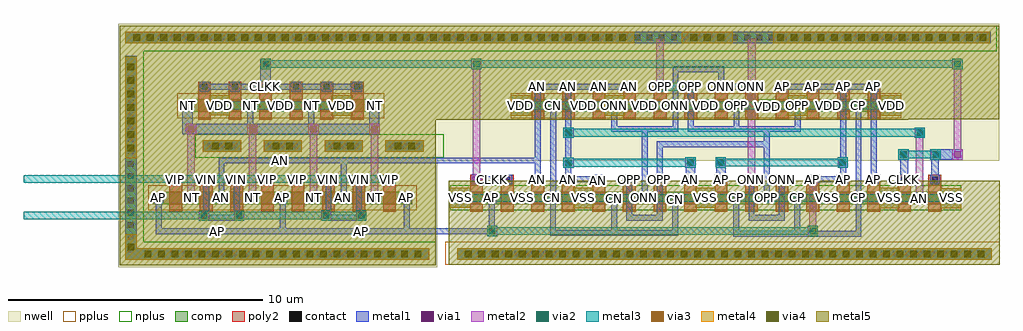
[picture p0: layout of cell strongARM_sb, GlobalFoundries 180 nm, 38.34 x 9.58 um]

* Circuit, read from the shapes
.subckt strongARM_sb AN AP CLKK CN CP NT ONN OPP VDD VIN VIP VSS
XM1 AP CLKK VSS VSS nfet_03v3 w=0.5u l=0.5u m=2
XM2 CN AN VSS VSS nfet_03v3 w=0.5u l=0.5u m=4
XM3 ONN OPP CN VSS nfet_03v3 w=0.5u l=0.5u m=2
XM4 CP AP VSS VSS nfet_03v3 w=0.5u l=0.5u m=4
XM5 OPP ONN CP VSS nfet_03v3 w=0.5u l=0.5u m=2
XM6 AN CLKK VSS VSS nfet_03v3 w=0.5u l=0.5u m=2
XM7 NT VIP AP VDD pfet_03v3 w=0.5u l=0.5u m=4
XM8 VDD CLKK NT VDD pfet_03v3 w=0.5u l=0.5u m=6
XM9 AN VIN NT VDD pfet_03v3 w=0.5u l=0.5u m=4
XM10 CN AN VDD VDD pfet_03v3 w=0.5u l=0.5u m=2
XM11 ONN AN VDD VDD pfet_03v3 w=0.5u l=0.5u m=2
XM12 ONN OPP VDD VDD pfet_03v3 w=0.5u l=0.5u m=2
XM13 OPP ONN VDD VDD pfet_03v3 w=0.5u l=0.5u m=2
XM14 OPP AP VDD VDD pfet_03v3 w=0.5u l=0.5u m=2
XM15 CP AP VDD VDD pfet_03v3 w=0.5u l=0.5u m=2
.ends

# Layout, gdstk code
import gdstk
lib = gdstk.Library(unit=1e-6, precision=5e-09)
def R(c, l, rs):  # rectangles x0, y0, x1, y1
    for r in rs: c.add(gdstk.rectangle(r[:2], r[2:], *l))
def A(c, l, x, y, w, h, nx, ny, dx, dy):  # array of equal rectangles
    R(c, l, [(x+i*dx, y+j*dy, x+i*dx+w, y+j*dy+h) for i in range(nx) for j in range(ny)])
def P(c, l, *ps):  # polygons
    for p in ps: c.add(gdstk.Polygon(p, *l))
nwell = (21, 0)
comp = (22, 0)
poly2 = (30, 0)
pplus = (31, 0)
nplus = (32, 0)
contact = (33, 0)
metal1 = (34, 0)
via1 = (35, 0)
metal2 = (36, 0)
via2 = (38, 0)
via3 = (40, 0)
via4 = (41, 0)
metal3 = (42, 0)
metal4 = (46, 0)
metal5 = (81, 0)

via_dev = lib.new_cell('via_dev')
R(via_dev, metal1, [(0,0,0.4,0.4)])
R(via_dev, via1, [(0.07,0.07,0.33,0.33)])
R(via_dev, metal2, [(0,0,0.4,0.4)])

via_dev_1 = lib.new_cell('via_dev$1')
R(via_dev_1, metal1, [(0,0,0.4,0.4)])
R(via_dev_1, via1, [(0.07,0.07,0.33,0.33)])
R(via_dev_1, metal2, [(0,0,0.4,0.4)])
R(via_dev_1, via2, [(0.07,0.07,0.33,0.33)])
R(via_dev_1, metal3, [(0,0,0.4,0.4)])

via_dev_3 = lib.new_cell('via_dev$3')
R(via_dev_3, via3, [(0.27,0.27,0.53,0.53)])
R(via_dev_3, via4, [(0.27,0.27,0.53,0.53)])
R(via_dev_3, metal3, [(0,0,0.8,0.8)])
R(via_dev_3, metal4, [(0,0,0.8,0.8)])
R(via_dev_3, metal5, [(0,0,0.8,0.8)])

via_dev_2 = lib.new_cell('via_dev$2')
R(via_dev_2, metal2, [(0,0,0.4,0.4)])
R(via_dev_2, via2, [(0.07,0.07,0.33,0.33)])
R(via_dev_2, metal3, [(0,0,0.4,0.4)])

via_dev_15 = lib.new_cell('via_dev$15')
R(via_dev_15, comp, [(0,0,0.45,8)])
A(via_dev_15, contact, 0.115, 0.29, 0.22, 0.22, 1, 16, 0, 0.48)
R(via_dev_15, metal1, [(0,0,0.45,8)])

via_dev_6 = lib.new_cell('via_dev$6')
R(via_dev_6, comp, [(0,0,1.5,0.45)])
A(via_dev_6, contact, 0.16, 0.115, 0.22, 0.22, 3, 1, 0.48, 0)
R(via_dev_6, metal1, [(0,0,1.5,0.45)])
R(via_dev_6, via1, [(0.355,0.095,0.615,0.355), (0.885,0.095,1.145,0.355)])
R(via_dev_6, metal2, [(0,0,1.5,0.45)])
R(via_dev_6, via2, [(0.355,0.095,0.615,0.355), (0.885,0.095,1.145,0.355)])
R(via_dev_6, via3, [(0.355,0.095,0.615,0.355), (0.885,0.095,1.145,0.355)])
R(via_dev_6, via4, [(0.355,0.095,0.615,0.355), (0.885,0.095,1.145,0.355)])
R(via_dev_6, metal3, [(0,0,1.5,0.45)])
R(via_dev_6, metal4, [(0,0,1.5,0.45)])
R(via_dev_6, metal5, [(0,0,1.5,0.45)])

via_dev_14 = lib.new_cell('via_dev$14')
R(via_dev_14, comp, [(0,0,21,0.45)])
A(via_dev_14, contact, 0.31, 0.115, 0.22, 0.22, 43, 1, 0.48, 0)
R(via_dev_14, metal1, [(0,0,21,0.45)])
A(via_dev_14, via1, 0.3, 0.095, 0.26, 0.26, 39, 1, 0.53, 0)
R(via_dev_14, metal2, [(0,0,21,0.45)])
A(via_dev_14, via2, 0.3, 0.095, 0.26, 0.26, 39, 1, 0.53, 0)
A(via_dev_14, via3, 0.3, 0.095, 0.26, 0.26, 39, 1, 0.53, 0)
A(via_dev_14, via4, 0.3, 0.095, 0.26, 0.26, 39, 1, 0.53, 0)
R(via_dev_14, metal3, [(0,0,21,0.45)])
R(via_dev_14, metal4, [(0,0,21,0.45)])
R(via_dev_14, metal5, [(0,0,21,0.45)])

via_dev_8 = lib.new_cell('via_dev$8')
R(via_dev_8, comp, [(0,0,11.5,0.45)])
A(via_dev_8, contact, 0.36, 0.115, 0.22, 0.22, 23, 1, 0.48, 0)
R(via_dev_8, metal1, [(0,0,11.5,0.45)])
A(via_dev_8, via1, 0.32, 0.095, 0.26, 0.26, 21, 1, 0.53, 0)
R(via_dev_8, metal2, [(0,0,11.5,0.45)])
A(via_dev_8, via2, 0.32, 0.095, 0.26, 0.26, 21, 1, 0.53, 0)
A(via_dev_8, via3, 0.32, 0.095, 0.26, 0.26, 21, 1, 0.53, 0)
A(via_dev_8, via4, 0.32, 0.095, 0.26, 0.26, 21, 1, 0.53, 0)
R(via_dev_8, metal3, [(0,0,11.5,0.45)])
R(via_dev_8, metal4, [(0,0,11.5,0.45)])
R(via_dev_8, metal5, [(0,0,11.5,0.45)])

via_dev_17 = lib.new_cell('via_dev$17')
R(via_dev_17, metal1, [(0,0,0.45,4)])
A(via_dev_17, via1, 0.095, 0.28, 0.26, 0.26, 1, 7, 0, 0.53)
R(via_dev_17, metal2, [(0,0,0.45,4)])
A(via_dev_17, via2, 0.095, 0.28, 0.26, 0.26, 1, 7, 0, 0.53)
A(via_dev_17, via3, 0.095, 0.28, 0.26, 0.26, 1, 7, 0, 0.53)
A(via_dev_17, via4, 0.095, 0.28, 0.26, 0.26, 1, 7, 0, 0.53)
R(via_dev_17, metal3, [(0,0,0.45,4)])
R(via_dev_17, metal4, [(0,0,0.45,4)])
R(via_dev_17, metal5, [(0,0,0.45,4)])

via_dev_11 = lib.new_cell('via_dev$11')
R(via_dev_11, metal1, [(0,0,0.45,1)])
R(via_dev_11, via1, [(0.095,0.37,0.355,0.63)])
R(via_dev_11, metal2, [(0,0,0.45,1)])
R(via_dev_11, via2, [(0.095,0.37,0.355,0.63)])
R(via_dev_11, via3, [(0.095,0.37,0.355,0.63)])
R(via_dev_11, via4, [(0.095,0.37,0.355,0.63)])
R(via_dev_11, metal3, [(0,0,0.45,1)])
R(via_dev_11, metal4, [(0,0,0.45,1)])
R(via_dev_11, metal5, [(0,0,0.45,1)])

via_dev_12 = lib.new_cell('via_dev$12')
R(via_dev_12, comp, [(0,0,34,0.45)])
A(via_dev_12, contact, 0.33, 0.115, 0.22, 0.22, 70, 1, 0.48, 0)
R(via_dev_12, metal1, [(0,0,34,0.45)])

via_dev_18 = lib.new_cell('via_dev$18')
R(via_dev_18, metal1, [(0,0,20,0.45)])
A(via_dev_18, via1, 0.33, 0.095, 0.26, 0.26, 37, 1, 0.53, 0)
R(via_dev_18, metal2, [(0,0,20,0.45)])
A(via_dev_18, via2, 0.33, 0.095, 0.26, 0.26, 37, 1, 0.53, 0)
A(via_dev_18, via3, 0.33, 0.095, 0.26, 0.26, 37, 1, 0.53, 0)
A(via_dev_18, via4, 0.33, 0.095, 0.26, 0.26, 37, 1, 0.53, 0)
R(via_dev_18, metal3, [(0,0,20,0.45)])
R(via_dev_18, metal4, [(0,0,20,0.45)])
R(via_dev_18, metal5, [(0,0,20,0.45)])

via_dev_19 = lib.new_cell('via_dev$19')
R(via_dev_19, metal1, [(0,0,8.5,0.45)])
A(via_dev_19, via1, 0.145, 0.095, 0.26, 0.26, 16, 1, 0.53, 0)
R(via_dev_19, metal2, [(0,0,8.5,0.45)])
A(via_dev_19, via2, 0.145, 0.095, 0.26, 0.26, 16, 1, 0.53, 0)
A(via_dev_19, via3, 0.145, 0.095, 0.26, 0.26, 16, 1, 0.53, 0)
A(via_dev_19, via4, 0.145, 0.095, 0.26, 0.26, 16, 1, 0.53, 0)
R(via_dev_19, metal3, [(0,0,8.5,0.45)])
R(via_dev_19, metal4, [(0,0,8.5,0.45)])
R(via_dev_19, metal5, [(0,0,8.5,0.45)])

via_dev_20 = lib.new_cell('via_dev$20')
R(via_dev_20, metal1, [(0,0,2,0.45)])
A(via_dev_20, via1, 0.34, 0.095, 0.26, 0.26, 3, 1, 0.53, 0)
R(via_dev_20, metal2, [(0,0,2,0.45)])
A(via_dev_20, via2, 0.34, 0.095, 0.26, 0.26, 3, 1, 0.53, 0)
A(via_dev_20, via3, 0.34, 0.095, 0.26, 0.26, 3, 1, 0.53, 0)
A(via_dev_20, via4, 0.34, 0.095, 0.26, 0.26, 3, 1, 0.53, 0)
R(via_dev_20, metal3, [(0,0,2,0.45)])
R(via_dev_20, metal4, [(0,0,2,0.45)])
R(via_dev_20, metal5, [(0,0,2,0.45)])

strongarm_sb = lib.new_cell('strongARM_sb')
P(strongarm_sb, nwell, [(33.6,-72.4),(33.6,-62.82),(68.2,-62.82),(68.2,-68.21),(46.13,-68.21),(46.13,-72.4)])
R(strongarm_sb, comp, [(34.95,-69.92,35.41,-69.42), (35.41,-69.92,44.69,-69.42), (44.69,-69.92,45.15,-69.42), (46.81,-69.92,47.23,-69.42), (47.23,-69.92,66.11,-69.42), (66.11,-69.92,66.53,-69.42), (36.08,-66.29,36.54,-65.79), (36.54,-66.29,43.42,-65.79), (43.42,-66.29,43.88,-65.79), (49.18,-66.29,49.64,-65.79), (49.64,-66.29,63.72,-65.79), (63.72,-66.29,64.18,-65.79)])
A(strongarm_sb, poly2, 35.6, -70.22, 0.5, 1.1, 8, 1, 1.2, 0)
A(strongarm_sb, poly2, 47.42, -70.22, 0.5, 1.1, 16, 1, 1.2, 0)
A(strongarm_sb, poly2, 35.6, -69.12, 0.5, 0.38, 8, 1, 1.2, 0)
A(strongarm_sb, poly2, 47.42, -69.12, 0.5, 0.36, 16, 1, 1.2, 0)
A(strongarm_sb, poly2, 36.73, -66.59, 0.5, 1.1, 6, 1, 1.2, 0)
A(strongarm_sb, poly2, 49.83, -66.59, 0.5, 1.1, 12, 1, 1.2, 0)
A(strongarm_sb, poly2, 36.73, -65.49, 0.5, 0.38, 6, 1, 1.2, 0)
A(strongarm_sb, poly2, 49.83, -65.49, 0.5, 0.38, 12, 1, 1.2, 0)
R(strongarm_sb, pplus, [(46.44,-72.3,68.21,-71.39), (34.78,-70.16,45.32,-69.18), (35.91,-66.53,44.05,-65.55), (49.01,-66.53,64.35,-65.55)])
R(strongarm_sb, nplus, [(33.65,-72.32,34.6,-62.9), (33.65,-72.32,46.06,-71.39), (46.64,-70.16,66.7,-69.18), (36.61,-68.085,46.38,-67.16), (33.65,-63.9,68.1,-62.9)])
A(strongarm_sb, contact, 36.34, -69.78, 0.22, 0.22, 7, 1, 1.2, 0)
A(strongarm_sb, contact, 48.16, -69.78, 0.22, 0.22, 15, 1, 1.2, 0)
A(strongarm_sb, contact, 47.56, -69.05, 0.22, 0.22, 16, 1, 1.2, 0)
A(strongarm_sb, contact, 35.74, -69.04, 0.22, 0.22, 8, 1, 1.2, 0)
A(strongarm_sb, contact, 37.47, -66.15, 0.22, 0.22, 5, 1, 1.2, 0)
A(strongarm_sb, contact, 50.57, -66.15, 0.22, 0.22, 11, 1, 1.2, 0)
A(strongarm_sb, contact, 36.87, -65.41, 0.22, 0.22, 6, 1, 1.2, 0)
A(strongarm_sb, contact, 49.97, -65.41, 0.22, 0.22, 12, 1, 1.2, 0)
R(strongarm_sb, contact, [(35.07,-69.78,35.29,-69.56), (44.81,-69.78,45.03,-69.56), (46.91,-69.78,47.13,-69.56), (66.21,-69.78,66.43,-69.56), (36.2,-66.15,36.42,-65.93), (43.54,-66.15,43.76,-65.93), (49.3,-66.15,49.52,-65.93), (63.84,-66.15,64.06,-65.93)])
A(strongarm_sb, metal1, 36.26, -69.86, 0.38, 0.38, 7, 1, 1.2, 0)
A(strongarm_sb, metal1, 48.08, -69.86, 0.38, 0.38, 15, 1, 1.2, 0)
A(strongarm_sb, metal1, 47.48, -69.13, 0.38, 0.38, 16, 1, 1.2, 0)
A(strongarm_sb, metal1, 35.66, -69.12, 0.38, 0.38, 8, 1, 1.2, 0)
A(strongarm_sb, metal1, 37.39, -66.23, 0.38, 0.38, 5, 1, 1.2, 0)
A(strongarm_sb, metal1, 50.49, -66.23, 0.38, 0.38, 11, 1, 1.2, 0)
A(strongarm_sb, metal1, 36.79, -65.49, 0.38, 0.38, 6, 1, 1.2, 0)
A(strongarm_sb, metal1, 49.89, -65.49, 0.38, 0.38, 12, 1, 1.2, 0)
R(strongarm_sb, metal1, [(34.99,-69.86,35.37,-69.48), (44.73,-69.86,45.11,-69.48), (46.83,-69.86,47.21,-69.48), (66.13,-69.86,66.51,-69.48), (36.12,-66.23,36.5,-65.85), (43.46,-66.23,43.84,-65.85), (49.22,-66.23,49.6,-65.85), (63.76,-66.23,64.14,-65.85)])
P(strongarm_sb, metal1, [(35.065,-71.095),(35.065,-69.81),(35.295,-69.81),(35.295,-70.865),(39.935,-70.865),(39.935,-69.48),(40.165,-69.48),(40.165,-70.865),(44.805,-70.865),(44.805,-69.81),(45.035,-69.81),(45.035,-71.095)])
A(strongarm_sb, via1, 36.32, -69.8, 0.26, 0.26, 4, 1, 2.4, 0)
A(strongarm_sb, metal2, 36.26, -69.86, 0.38, 0.38, 4, 1, 2.4, 0)
R(strongarm_sb, metal5, [(33.65,-72.32,46.06,-62.9), (46.58,-72.3,68.21,-69), (36.73,-66.59,64.62,-65.35), (33.65,-66.58,68.2,-62.9)])
strongarm_sb.add(gdstk.FlexPath([(54.68,-65.3),(56.24,-65.3)], 0.3, ends="flush", simple_path=True, layer=42, datatype=0))  # metal3
strongarm_sb.add(gdstk.FlexPath([(51.08,-68.29),(56.2,-68.29)], 0.3, ends="flush", simple_path=True, layer=42, datatype=0))  # metal3
strongarm_sb.add(gdstk.FlexPath([(57.06,-68.28),(62.25,-68.28)], 0.3, ends="flush", simple_path=True, layer=42, datatype=0))  # metal3
strongarm_sb.add(gdstk.FlexPath([(61.08,-70.97),(48.08,-70.97)], 0.3, ends="flush", simple_path=True, layer=42, datatype=0))  # metal3
strongarm_sb.add(gdstk.FlexPath([(65.28,-67.11),(51.08,-67.11)], 0.3, ends="flush", simple_path=True, layer=42, datatype=0))  # metal3
strongarm_sb.add(gdstk.FlexPath([(66.76,-64.41),(39.19,-64.41)], 0.3, ends="flush", simple_path=True, layer=42, datatype=0))  # metal3
strongarm_sb.add(gdstk.FlexPath([(43.34,-70.36),(29.87,-70.36)], 0.3, ends="flush", simple_path=True, layer=42, datatype=0))  # metal3
strongarm_sb.add(gdstk.FlexPath([(44.45,-68.93),(29.87,-68.93)], 0.3, ends="flush", simple_path=True, layer=42, datatype=0))  # metal3
strongarm_sb.add(gdstk.FlexPath([(42.58,-66.04),(37.39,-66.04)], 0.3, ends="flush", simple_path=True, layer=42, datatype=0))  # metal3
strongarm_sb.add(gdstk.FlexPath([(49.21,-66.04),(64.14,-66.04)], 0.3, ends="flush", simple_path=True, layer=42, datatype=0))  # metal3
strongarm_sb.add(gdstk.FlexPath([(66.51,-69.67),(46.83,-69.67)], 0.3, ends="flush", simple_path=True, layer=42, datatype=0))  # metal3
strongarm_sb.add(gdstk.FlexPath([(65.87,-67.96),(64.27,-67.96)], 0.3, ends="flush", simple_path=True, layer=42, datatype=0))  # metal3
strongarm_sb.add(gdstk.FlexPath([(36.45,-66.76),(36.45,-69.86),(36.45,-69.86)], 0.3, ends="flush", simple_path=True, layer=36, datatype=0))  # metal2
strongarm_sb.add(gdstk.FlexPath([(38.86,-66.77),(38.86,-69.86)], 0.3, ends="flush", simple_path=True, layer=36, datatype=0))  # metal2
strongarm_sb.add(gdstk.FlexPath([(41.26,-66.76),(41.26,-69.86)], 0.3, ends="flush", simple_path=True, layer=36, datatype=0))  # metal2
strongarm_sb.add(gdstk.FlexPath([(43.66,-66.76),(43.66,-69.86)], 0.3, ends="flush", simple_path=True, layer=36, datatype=0))  # metal2
strongarm_sb.add(gdstk.FlexPath([(58.47,-69.14),(58.47,-65.17)], 0.28, ends="flush", simple_path=True, layer=36, datatype=0))  # metal2
strongarm_sb.add(gdstk.FlexPath([(65.07,-69.87),(65.07,-66.91)], 0.3, ends="flush", simple_path=True, layer=36, datatype=0))  # metal2
strongarm_sb.add(gdstk.FlexPath([(66.56,-68.16),(66.56,-64.28)], 0.3, ends="flush", simple_path=True, layer=36, datatype=0))  # metal2
strongarm_sb.add(gdstk.FlexPath([(47.67,-69.14),(47.67,-64.73),(47.82,-64.73)], 0.3, ends="flush", simple_path=True, layer=36, datatype=0))  # metal2
strongarm_sb.add(gdstk.FlexPath([(60.87,-68.76),(60.87,-71.17)], 0.28, ends="flush", simple_path=True, layer=36, datatype=0))  # metal2
strongarm_sb.add(gdstk.FlexPath([(54.88,-65.49),(54.88,-63.42)], 0.3, ends="flush", simple_path=True, layer=36, datatype=0))  # metal2
strongarm_sb.add(gdstk.FlexPath([(58.48,-65.49),(58.48,-63.42)], 0.3, ends="flush", simple_path=True, layer=36, datatype=0))  # metal2
strongarm_sb.add(gdstk.FlexPath([(37.05,-68.74),(37.05,-70.45),(38.25,-70.45),(38.25,-68.74)], 0.23, ends="flush", simple_path=True, layer=34, datatype=0))  # metal1
strongarm_sb.add(gdstk.FlexPath([(41.85,-68.74),(41.85,-70.45),(43.05,-70.45),(43.05,-68.74),(43.05,-68.74)], 0.23, ends="flush", simple_path=True, layer=34, datatype=0))  # metal1
strongarm_sb.add(gdstk.FlexPath([(36.31,-65.85),(36.31,-66.96),(43.65,-66.96),(43.65,-65.85)], 0.4, ends="flush", simple_path=True, layer=34, datatype=0))  # metal1
strongarm_sb.add(gdstk.FlexPath([(38.78,-65.85),(38.78,-67.075)], 0.23, ends="flush", simple_path=True, layer=34, datatype=0))  # metal1
strongarm_sb.add(gdstk.FlexPath([(41.18,-65.85),(41.18,-67.075)], 0.23, ends="flush", simple_path=True, layer=34, datatype=0))  # metal1
strongarm_sb.add(gdstk.FlexPath([(36.79,-65.3),(43.17,-65.3)], 0.23, ends="flush", simple_path=True, layer=34, datatype=0))  # metal1
strongarm_sb.add(gdstk.FlexPath([(62.67,-69.48),(62.67,-69.94)], 0.23, ends="flush", simple_path=True, layer=34, datatype=0))  # metal1
strongarm_sb.add(gdstk.FlexPath([(64.47,-69.13),(64.47,-67.76)], 0.3, ends="flush", simple_path=True, layer=34, datatype=0))  # metal1
strongarm_sb.add(gdstk.FlexPath([(50.68,-65.85),(50.68,-69.78)], 0.23, ends="flush", simple_path=True, layer=34, datatype=0))  # metal1
strongarm_sb.add(gdstk.FlexPath([(50.07,-69.05),(50.07,-65.25),(50.19,-65.25)], 0.23, ends="flush", simple_path=True, layer=34, datatype=0))  # metal1
strongarm_sb.add(gdstk.FlexPath([(62.67,-69.86),(62.67,-65.85)], 0.23, ends="flush", simple_path=True, layer=34, datatype=0))  # metal1
strongarm_sb.add(gdstk.FlexPath([(63.27,-69.12),(63.27,-65.19)], 0.23, ends="flush", simple_path=True, layer=34, datatype=0))  # metal1
strongarm_sb.add(gdstk.FlexPath([(51.08,-68.94),(52.66,-68.94)], 0.23, ends="flush", simple_path=True, layer=34, datatype=0))  # metal1
strongarm_sb.add(gdstk.FlexPath([(62.26,-68.94),(60.68,-68.94)], 0.23, ends="flush", simple_path=True, layer=34, datatype=0))  # metal1
strongarm_sb.add(gdstk.FlexPath([(49.89,-65.3),(53.79,-65.3)], 0.23, ends="flush", simple_path=True, layer=34, datatype=0))  # metal1
strongarm_sb.add(gdstk.FlexPath([(59.49,-65.3),(63.47,-65.3)], 0.23, ends="flush", simple_path=True, layer=34, datatype=0))  # metal1
strongarm_sb.add(gdstk.FlexPath([(55.48,-66.23),(55.48,-64.61),(57.28,-64.61),(57.28,-65.41)], 0.23, ends="flush", simple_path=True, layer=34, datatype=0))  # metal1
strongarm_sb.add(gdstk.FlexPath([(54.87,-69.13),(54.87,-67.56),(59.185,-67.56)], 0.23, ends="flush", simple_path=True, layer=34, datatype=0))  # metal1
strongarm_sb.add(gdstk.FlexPath([(56.07,-69.13),(56.07,-68.15),(56.07,-68.15)], 0.38, ends="flush", simple_path=True, layer=34, datatype=0))  # metal1
strongarm_sb.add(gdstk.FlexPath([(57.27,-69.12),(57.27,-68.15)], 0.38, ends="flush", simple_path=True, layer=34, datatype=0))  # metal1
strongarm_sb.add(gdstk.FlexPath([(51.27,-69.13),(51.27,-65.19)], 0.23, ends="flush", simple_path=True, layer=34, datatype=0))  # metal1
strongarm_sb.add(gdstk.FlexPath([(62.07,-69.13),(62.07,-65.19)], 0.23, ends="flush", simple_path=True, layer=34, datatype=0))  # metal1
strongarm_sb.add(gdstk.FlexPath([(48.27,-69.48),(48.27,-70.45)], 0.23, ends="flush", simple_path=True, layer=34, datatype=0))  # metal1
strongarm_sb.add(gdstk.FlexPath([(42.33,-68.2),(50.185,-68.2)], 0.23, ends="flush", simple_path=True, layer=34, datatype=0))  # metal1
strongarm_sb.add(gdstk.FlexPath([(48.27,-69.48),(48.27,-70.98),(44.32,-70.98)], 0.23, ends="flush", simple_path=True, layer=34, datatype=0))  # metal1
strongarm_sb.add(gdstk.FlexPath([(65.48,-67.96),(66.76,-67.96)], 0.4, ends="flush", simple_path=True, layer=34, datatype=0))  # metal1
strongarm_sb.add(gdstk.FlexPath([(39.38,-65.49),(39.38,-64.21)], 0.4, ends="flush", simple_path=True, layer=34, datatype=0))  # metal1
strongarm_sb.add(gdstk.FlexPath([(65.67,-69.13),(65.67,-67.76)], 0.3, ends="flush", simple_path=True, layer=34, datatype=0))  # metal1
strongarm_sb.add(gdstk.FlexPath([(37.65,-69.86),(37.65,-68.2),(42.45,-68.2),(42.45,-69.86)], 0.23, ends="flush", simple_path=True, layer=34, datatype=0))  # metal1
strongarm_sb.add(gdstk.FlexPath([(49.89,-65.3),(51.47,-65.3)], 0.23, ends="flush", simple_path=True, layer=34, datatype=0))  # metal1
strongarm_sb.add(gdstk.FlexPath([(53.87,-65.3),(52.29,-65.3)], 0.23, ends="flush", simple_path=True, layer=34, datatype=0))  # metal1
strongarm_sb.add(gdstk.FlexPath([(53.08,-65.85),(53.08,-66.96),(55.48,-66.96),(55.48,-65.85),(55.48,-65.85)], 0.23, ends="flush", simple_path=True, layer=34, datatype=0))  # metal1
strongarm_sb.add(gdstk.FlexPath([(54.27,-69.86),(54.27,-66.845)], 0.23, ends="flush", simple_path=True, layer=34, datatype=0))  # metal1
strongarm_sb.add(gdstk.FlexPath([(60.28,-65.85),(60.28,-66.96),(57.88,-66.96),(57.88,-65.85),(57.88,-65.85)], 0.23, ends="flush", simple_path=True, layer=34, datatype=0))  # metal1
strongarm_sb.add(gdstk.FlexPath([(59.07,-69.86),(59.07,-66.845)], 0.23, ends="flush", simple_path=True, layer=34, datatype=0))  # metal1
strongarm_sb.add(gdstk.FlexPath([(50.67,-69.88),(50.67,-71.05),(55.47,-71.05),(55.47,-69.88)], 0.23, ends="flush", simple_path=True, layer=34, datatype=0))  # metal1
strongarm_sb.add(gdstk.FlexPath([(53.07,-69.48),(53.07,-70.765)], 0.23, ends="flush", simple_path=True, layer=34, datatype=0))  # metal1
strongarm_sb.add(gdstk.FlexPath([(62.67,-69.9),(62.67,-71.07),(57.87,-71.07),(57.87,-69.9)], 0.23, ends="flush", simple_path=True, layer=34, datatype=0))  # metal1
strongarm_sb.add(gdstk.FlexPath([(60.27,-69.48),(60.27,-70.765)], 0.23, ends="flush", simple_path=True, layer=34, datatype=0))  # metal1
strongarm_sb.add(gdstk.FlexPath([(57.09,-65.3),(58.67,-65.3),(58.67,-65.3)], 0.23, ends="flush", simple_path=True, layer=34, datatype=0))  # metal1
strongarm_sb.add(gdstk.FlexPath([(56.08,-65.11),(56.08,-66.96),(57.99,-66.96)], 0.23, ends="flush", simple_path=True, layer=34, datatype=0))  # metal1
strongarm_sb.add(gdstk.FlexPath([(59.49,-65.3),(61.07,-65.3)], 0.23, ends="flush", simple_path=True, layer=34, datatype=0))  # metal1
strongarm_sb.add(gdstk.FlexPath([(61.89,-65.3),(63.47,-65.3)], 0.23, ends="flush", simple_path=True, layer=34, datatype=0))  # metal1
strongarm_sb.add(gdstk.FlexPath([(47.48,-68.94),(49.06,-68.94)], 0.23, ends="flush", simple_path=True, layer=34, datatype=0))  # metal1
strongarm_sb.add(gdstk.FlexPath([(53.67,-68.75),(53.67,-70.45),(54.87,-70.45),(54.87,-68.76),(54.87,-68.76)], 0.23, ends="flush", simple_path=True, layer=34, datatype=0))  # metal1
strongarm_sb.add(gdstk.FlexPath([(50.67,-70.07),(50.67,-69.67),(50.67,-69.67)], 0.23, ends="flush", simple_path=True, layer=34, datatype=0))  # metal1
strongarm_sb.add(gdstk.FlexPath([(53.07,-70.72),(53.07,-71.165)], 0.23, ends="flush", simple_path=True, layer=34, datatype=0))  # metal1
strongarm_sb.add(gdstk.FlexPath([(55.47,-69.48),(55.47,-70.22)], 0.23, ends="flush", simple_path=True, layer=34, datatype=0))  # metal1
strongarm_sb.add(gdstk.FlexPath([(57.87,-69.48),(57.87,-70.16)], 0.23, ends="flush", simple_path=True, layer=34, datatype=0))  # metal1
strongarm_sb.add(gdstk.FlexPath([(60.27,-71.185),(60.27,-70.54)], 0.23, ends="flush", simple_path=True, layer=34, datatype=0))  # metal1
strongarm_sb.add(gdstk.FlexPath([(58.47,-68.75),(58.47,-70.45),(59.65,-70.45),(59.65,-68.88),(59.53,-68.88),(59.53,-68.88)], 0.23, ends="flush", simple_path=True, layer=34, datatype=0))  # metal1
strongarm_sb.add(gdstk.Reference(via_dev, (36.25,-67.16)))
strongarm_sb.add(gdstk.Reference(via_dev, (38.66,-67.17)))
strongarm_sb.add(gdstk.Reference(via_dev, (41.06,-67.16)))
strongarm_sb.add(gdstk.Reference(via_dev, (43.46,-67.16)))
strongarm_sb.add(gdstk.Reference(via_dev_1, (54.68,-65.5)))
strongarm_sb.add(gdstk.Reference(via_dev_1, (55.88,-65.5)))
strongarm_sb.add(gdstk.Reference(via_dev, (58.27,-69.14)))
strongarm_sb.add(gdstk.Reference(via_dev, (58.28,-65.5)))
strongarm_sb.add(gdstk.Reference(via_dev_1, (55.87,-68.48)))
strongarm_sb.add(gdstk.Reference(via_dev_1, (57.06,-68.48)))
strongarm_sb.add(gdstk.Reference(via_dev_1, (51.08,-68.49)))
strongarm_sb.add(gdstk.Reference(via_dev_1, (61.85,-68.48)))
strongarm_sb.add(gdstk.Reference(via_dev_1, (48.08,-71.17)))
strongarm_sb.add(gdstk.Reference(via_dev_3, (51.46,-70.07)))
strongarm_sb.add(gdstk.Reference(via_dev_1, (51.08,-67.31)))
strongarm_sb.add(gdstk.Reference(via_dev, (64.88,-67.31)))
strongarm_sb.add(gdstk.Reference(via_dev, (64.87,-69.87)))
strongarm_sb.add(gdstk.Reference(via_dev_1, (65.51,-68.16)))
strongarm_sb.add(gdstk.Reference(via_dev_1, (64.24,-68.16)))
strongarm_sb.add(gdstk.Reference(via_dev, (47.47,-69.14)))
strongarm_sb.add(gdstk.Reference(via_dev, (66.36,-68.16)))
strongarm_sb.add(gdstk.Reference(via_dev_2, (66.36,-64.61)))
strongarm_sb.add(gdstk.Reference(via_dev_2, (47.46,-64.61)))
strongarm_sb.add(gdstk.Reference(via_dev_1, (39.19,-64.61)))
strongarm_sb.add(gdstk.Reference(via_dev_1, (36.76,-70.57)))
strongarm_sb.add(gdstk.Reference(via_dev_1, (38.14,-70.57)))
strongarm_sb.add(gdstk.Reference(via_dev_1, (41.56,-70.56)))
strongarm_sb.add(gdstk.Reference(via_dev_1, (42.94,-70.56)))
strongarm_sb.add(gdstk.Reference(via_dev_1, (35.61,-69.13)))
strongarm_sb.add(gdstk.Reference(via_dev_1, (39.29,-69.13)))
strongarm_sb.add(gdstk.Reference(via_dev_1, (40.41,-69.13)))
strongarm_sb.add(gdstk.Reference(via_dev_1, (44.09,-69.13)))
strongarm_sb.add(gdstk.Reference(via_dev_1, (42.18,-66.24)))
strongarm_sb.add(gdstk.Reference(via_dev_1, (39.78,-66.24)))
strongarm_sb.add(gdstk.Reference(via_dev_1, (37.38,-66.24)))
strongarm_sb.add(gdstk.Reference(via_dev_3, (37.18,-66.43)))
strongarm_sb.add(gdstk.Reference(via_dev_3, (41.98,-66.44)))
strongarm_sb.add(gdstk.Reference(via_dev_1, (63.75,-66.24)))
strongarm_sb.add(gdstk.Reference(via_dev_1, (61.28,-66.24)))
strongarm_sb.add(gdstk.Reference(via_dev_1, (58.9,-66.24)))
strongarm_sb.add(gdstk.Reference(via_dev_1, (56.48,-66.24)))
strongarm_sb.add(gdstk.Reference(via_dev_1, (54.08,-66.24)))
strongarm_sb.add(gdstk.Reference(via_dev_1, (51.68,-66.24)))
strongarm_sb.add(gdstk.Reference(via_dev_1, (49.21,-66.24)))
strongarm_sb.add(gdstk.Reference(via_dev_3, (49.01,-66.44)))
strongarm_sb.add(gdstk.Reference(via_dev_3, (63.55,-66.44)))
strongarm_sb.add(gdstk.Reference(via_dev_3, (52.68,-66.44)))
strongarm_sb.add(gdstk.Reference(via_dev_3, (59.88,-66.44)))
strongarm_sb.add(gdstk.Reference(via_dev_1, (46.82,-69.87)))
strongarm_sb.add(gdstk.Reference(via_dev_1, (49.27,-69.87)))
strongarm_sb.add(gdstk.Reference(via_dev_1, (51.67,-69.87)))
strongarm_sb.add(gdstk.Reference(via_dev_1, (56.47,-69.87)))
strongarm_sb.add(gdstk.Reference(via_dev_1, (61.3,-69.87)))
strongarm_sb.add(gdstk.Reference(via_dev_1, (63.67,-69.87)))
strongarm_sb.add(gdstk.Reference(via_dev_1, (66.12,-69.87)))
strongarm_sb.add(gdstk.Reference(via_dev_3, (65.91,-70.08)))
strongarm_sb.add(gdstk.Reference(via_dev_3, (63.48,-70.07)))
strongarm_sb.add(gdstk.Reference(via_dev_3, (56.27,-70.06)))
strongarm_sb.add(gdstk.Reference(via_dev_3, (46.62,-70.06)))
strongarm_sb.add(gdstk.Reference(via_dev_2, (60.68,-71.17)))
strongarm_sb.add(gdstk.Reference(via_dev, (60.68,-69.14)))
strongarm_sb.add(gdstk.Reference(via_dev_15, (33.86,-72.09)))
strongarm_sb.add(gdstk.Reference(via_dev_6, (36.92,-67.85)))
strongarm_sb.add(gdstk.Reference(via_dev_6, (39.3,-67.85)))
strongarm_sb.add(gdstk.Reference(via_dev_6, (41.7,-67.85)))
strongarm_sb.add(gdstk.Reference(via_dev_14, (46.91,-72.09)))
strongarm_sb.add(gdstk.Reference(via_dev_8, (34.31,-72.09)))
strongarm_sb.add(gdstk.Reference(via_dev_6, (44.09,-67.85)))
strongarm_sb.add(gdstk.Reference(via_dev_17, (33.86,-68.12)))
strongarm_sb.add(gdstk.Reference(via_dev_2, (64.88,-67.31)))
strongarm_sb.add(gdstk.Reference(via_dev_11, (33.87,-72.09)))
strongarm_sb.add(gdstk.Reference(via_dev_12, (33.86,-63.59)))
strongarm_sb.add(gdstk.Reference(via_dev_18, (33.86,-63.59)))
strongarm_sb.add(gdstk.Reference(via_dev_19, (59.33,-63.59)))
strongarm_sb.add(gdstk.Reference(via_dev_20, (55.73,-63.59)))
strongarm_sb.add(gdstk.Label('AP', (37.5,-70.98), layer=34, texttype=10))
strongarm_sb.add(gdstk.Label('AP', (43.14,-70.98), layer=34, texttype=10))
strongarm_sb.add(gdstk.Label('AN', (39.95,-68.2), layer=34, texttype=10))
strongarm_sb.add(gdstk.Label('AN', (65.05,-69.69), layer=34, texttype=10))
strongarm_sb.add(gdstk.Label('AP', (48.27,-69.67), layer=34, texttype=10))
strongarm_sb.add(gdstk.Label('CN', (50.67,-69.67), layer=34, texttype=10))
strongarm_sb.add(gdstk.Label('CN', (53.07,-69.7), layer=34, texttype=10))
strongarm_sb.add(gdstk.Label('CN', (55.47,-69.72), layer=34, texttype=10))
strongarm_sb.add(gdstk.Label('CN', (50.68,-66.04), layer=34, texttype=10))
strongarm_sb.add(gdstk.Label('CP', (57.87,-69.67), layer=34, texttype=10))
strongarm_sb.add(gdstk.Label('CP', (60.27,-69.67), layer=34, texttype=10))
strongarm_sb.add(gdstk.Label('CP', (62.67,-69.67), layer=34, texttype=10))
strongarm_sb.add(gdstk.Label('CP', (62.68,-66.04), layer=34, texttype=10))
strongarm_sb.add(gdstk.Label('ONN', (54.27,-69.67), layer=34, texttype=10))
strongarm_sb.add(gdstk.Label('ONN', (53.08,-66.04), layer=34, texttype=10))
strongarm_sb.add(gdstk.Label('ONN', (55.48,-66.04), layer=34, texttype=10))
strongarm_sb.add(gdstk.Label('OPP', (59.07,-69.67), layer=34, texttype=10))
strongarm_sb.add(gdstk.Label('OPP', (60.28,-66.04), layer=34, texttype=10))
strongarm_sb.add(gdstk.Label('OPP', (57.88,-66.04), layer=34, texttype=10))
strongarm_sb.add(gdstk.Label('AP', (37.5,-70.98), layer=34, texttype=10))
strongarm_sb.add(gdstk.Label('AP', (35.18,-69.67), layer=34, texttype=10))
strongarm_sb.add(gdstk.Label('AP', (35.18,-69.67), layer=34, texttype=10))
strongarm_sb.add(gdstk.Label('AP', (40.05,-69.67), layer=34, texttype=10))
strongarm_sb.add(gdstk.Label('AP', (44.92,-69.67), layer=34, texttype=10))
strongarm_sb.add(gdstk.Label('AN', (37.65,-69.67), layer=34, texttype=10))
strongarm_sb.add(gdstk.Label('AN', (42.45,-69.67), layer=34, texttype=10))
strongarm_sb.add(gdstk.Label('NT', (36.45,-69.67), layer=34, texttype=10))
strongarm_sb.add(gdstk.Label('NT', (38.85,-69.67), layer=34, texttype=10))
strongarm_sb.add(gdstk.Label('NT', (41.25,-69.67), layer=34, texttype=10))
strongarm_sb.add(gdstk.Label('NT', (43.65,-69.67), layer=34, texttype=10))
strongarm_sb.add(gdstk.Label('NT', (36.31,-66.04), layer=34, texttype=10))
strongarm_sb.add(gdstk.Label('NT', (38.78,-66.04), layer=34, texttype=10))
strongarm_sb.add(gdstk.Label('NT', (41.18,-66.04), layer=34, texttype=10))
strongarm_sb.add(gdstk.Label('NT', (43.65,-66.04), layer=34, texttype=10))
strongarm_sb.add(gdstk.Label('VDD', (37.58,-66.04), layer=34, texttype=10))
strongarm_sb.add(gdstk.Label('VDD', (39.98,-66.04), layer=34, texttype=10))
strongarm_sb.add(gdstk.Label('VDD', (42.38,-66.04), layer=34, texttype=10))
strongarm_sb.add(gdstk.Label('VDD', (49.41,-66.04), layer=34, texttype=10))
strongarm_sb.add(gdstk.Label('VDD', (51.88,-66.04), layer=34, texttype=10))
strongarm_sb.add(gdstk.Label('VDD', (54.28,-66.04), layer=34, texttype=10))
strongarm_sb.add(gdstk.Label('VDD', (56.68,-66.04), layer=34, texttype=10))
strongarm_sb.add(gdstk.Label('VDD', (59.08,-66.07), layer=34, texttype=10))
strongarm_sb.add(gdstk.Label('VDD', (61.48,-66.04), layer=34, texttype=10))
strongarm_sb.add(gdstk.Label('VDD', (63.95,-66.04), layer=34, texttype=10))
strongarm_sb.add(gdstk.Label('VSS', (47.02,-69.67), layer=34, texttype=10))
strongarm_sb.add(gdstk.Label('VSS', (49.47,-69.67), layer=34, texttype=10))
strongarm_sb.add(gdstk.Label('VSS', (51.87,-69.67), layer=34, texttype=10))
strongarm_sb.add(gdstk.Label('VSS', (56.67,-69.67), layer=34, texttype=10))
strongarm_sb.add(gdstk.Label('VSS', (61.47,-69.67), layer=34, texttype=10))
strongarm_sb.add(gdstk.Label('VSS', (63.87,-69.67), layer=34, texttype=10))
strongarm_sb.add(gdstk.Label('VSS', (66.32,-69.67), layer=34, texttype=10))
strongarm_sb.add(gdstk.Label('VIP', (35.85,-68.93), layer=34, texttype=10))
strongarm_sb.add(gdstk.Label('VIP', (39.45,-68.93), layer=34, texttype=10))
strongarm_sb.add(gdstk.Label('VIP', (40.65,-68.93), layer=34, texttype=10))
strongarm_sb.add(gdstk.Label('VIP', (44.25,-68.93), layer=34, texttype=10))
strongarm_sb.add(gdstk.Label('VIN', (37.05,-68.93), layer=34, texttype=10))
strongarm_sb.add(gdstk.Label('VIN', (38.25,-68.93), layer=34, texttype=10))
strongarm_sb.add(gdstk.Label('VIN', (41.85,-68.93), layer=34, texttype=10))
strongarm_sb.add(gdstk.Label('VIN', (43.05,-68.93), layer=34, texttype=10))
strongarm_sb.add(gdstk.Label('CLKK', (39.38,-65.3), layer=34, texttype=10))
strongarm_sb.add(gdstk.Label('CLKK', (48.28,-68.94), layer=34, texttype=10))
strongarm_sb.add(gdstk.Label('CLKK', (64.47,-68.94), layer=34, texttype=10))
strongarm_sb.add(gdstk.Label('CLKK', (65.67,-68.94), layer=34, texttype=10))
strongarm_sb.add(gdstk.Label('AN', (50.07,-68.94), layer=34, texttype=10))
strongarm_sb.add(gdstk.Label('AN', (51.27,-68.94), layer=34, texttype=10))
strongarm_sb.add(gdstk.Label('AN', (52.45,-68.98), layer=34, texttype=10))
strongarm_sb.add(gdstk.Label('AN', (56.07,-68.94), layer=34, texttype=10))
strongarm_sb.add(gdstk.Label('AP', (57.27,-68.94), layer=34, texttype=10))
strongarm_sb.add(gdstk.Label('AP', (60.87,-68.94), layer=34, texttype=10))
strongarm_sb.add(gdstk.Label('AP', (62.07,-68.94), layer=34, texttype=10))
strongarm_sb.add(gdstk.Label('AP', (63.27,-68.94), layer=34, texttype=10))
strongarm_sb.add(gdstk.Label('OPP', (53.67,-68.94), layer=34, texttype=10))
strongarm_sb.add(gdstk.Label('OPP', (54.87,-68.94), layer=34, texttype=10))
strongarm_sb.add(gdstk.Label('ONN', (58.47,-68.94), layer=34, texttype=10))
strongarm_sb.add(gdstk.Label('ONN', (59.67,-68.94), layer=34, texttype=10))
strongarm_sb.add(gdstk.Label('AN', (50.08,-65.3), layer=34, texttype=10))
strongarm_sb.add(gdstk.Label('AN', (51.28,-65.3), layer=34, texttype=10))
strongarm_sb.add(gdstk.Label('AN', (52.48,-65.3), layer=34, texttype=10))
strongarm_sb.add(gdstk.Label('AN', (53.68,-65.3), layer=34, texttype=10))
strongarm_sb.add(gdstk.Label('AP', (63.28,-65.3), layer=34, texttype=10))
strongarm_sb.add(gdstk.Label('AP', (62.08,-65.3), layer=34, texttype=10))
strongarm_sb.add(gdstk.Label('AP', (60.88,-65.3), layer=34, texttype=10))
strongarm_sb.add(gdstk.Label('AP', (59.68,-65.3), layer=34, texttype=10))
strongarm_sb.add(gdstk.Label('ONN', (58.48,-65.3), layer=34, texttype=10))
strongarm_sb.add(gdstk.Label('ONN', (57.28,-65.3), layer=34, texttype=10))
strongarm_sb.add(gdstk.Label('OPP', (54.88,-65.3), layer=34, texttype=10))
strongarm_sb.add(gdstk.Label('OPP', (56.08,-65.3), layer=34, texttype=10))

lib.write_gds('strongARM_sb.gds')
